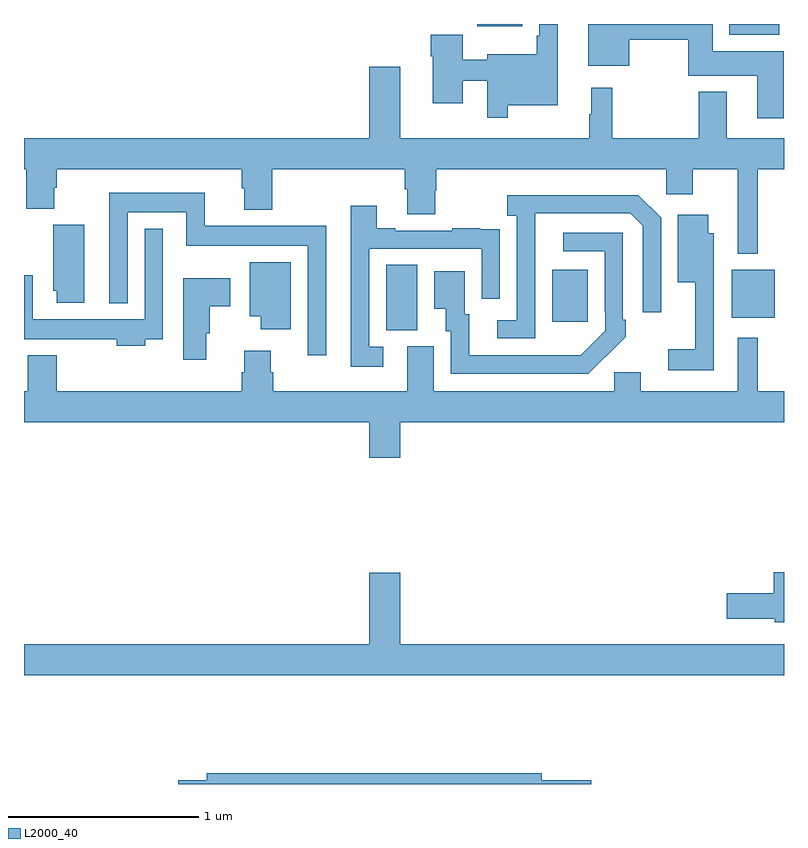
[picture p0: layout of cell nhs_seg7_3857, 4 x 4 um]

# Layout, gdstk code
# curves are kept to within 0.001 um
import gdstk
lib = gdstk.Library(unit=1e-6, precision=1e-09)
def R(c, l, rs):  # rectangles x0, y0, x1, y1
    for r in rs: c.add(gdstk.rectangle(r[:2], r[2:], *l))
def P(c, l, *ps):  # polygons
    for p in ps: c.add(gdstk.Polygon(p, *l))
L2000_40 = (2000, 40)

nhs_seg7_3857 = lib.new_cell('nhs_seg7_3857')
R(nhs_seg7_3857, L2000_40, [(356.906,1046.389,357.07,1046.732), (357.779,1046.433,357.967,1046.707), (358.724,1046.453,358.951,1046.707), (358.712,1047.944,358.975,1048), (357.386,1047.989,357.622,1048)])
P(nhs_seg7_3857, L2000_40, [(357.547,1047.572),(357.808,1047.572),(357.808,1048),(357.711,1048),(357.711,1047.937),(357.699,1047.937),(357.699,1047.841),(357.437,1047.841),(357.437,1047.811),(357.31,1047.811),(357.31,1047.943),(357.14,1047.943),(357.14,1047.83),(357.152,1047.83),(357.152,1047.582),(357.31,1047.582),(357.31,1047.702),(357.438,1047.702),(357.438,1047.507),(357.547,1047.507)],
  [(358.999,1047.856),(358.624,1047.856),(358.624,1048),(357.971,1048),(357.971,1047.779),(358.186,1047.779),(358.186,1047.916),(358.495,1047.916),(358.495,1047.728),(358.859,1047.728),(358.859,1047.504),(358.999,1047.504)],
  [(357.005,1047.13),(357.017,1047.13),(357.017,1046.998),(357.165,1046.998),(357.165,1047.123),(357.17,1047.123),(357.17,1047.236),(358.38,1047.236),(358.38,1047.105),(358.519,1047.105),(358.519,1047.236),(358.757,1047.236),(358.757,1046.792),(358.861,1046.792),(358.861,1047.236),(359,1047.236),(359,1047.4),(358.699,1047.4),(358.699,1047.643),(358.552,1047.643),(358.552,1047.4),(358.096,1047.4),(358.096,1047.664),(357.986,1047.664),(357.986,1047.524),(357.975,1047.524),(357.975,1047.4),(356.98,1047.4),(356.98,1047.775),(356.816,1047.775),(356.816,1047.4),(355,1047.4),(355,1047.236),(355.012,1047.236),(355.012,1047.028),(355.159,1047.028),(355.159,1047.137),(355.172,1047.137),(355.172,1047.236),(356.147,1047.236),(356.147,1047.135),(356.159,1047.135),(356.159,1047.023),(356.307,1047.023),(356.307,1047.236),(357.005,1047.236)],
  [(356.59,1046.938),(355.952,1046.938),(355.952,1047.112),(355.448,1047.112),(355.448,1046.531),(355.545,1046.531),(355.545,1047.008),(355.854,1047.008),(355.854,1046.834),(356.493,1046.834),(356.493,1046.256),(356.59,1046.256)],
  [(357.69,1046.803),(357.691,1047.003),(358.191,1047.003),(358.257,1046.937),(358.257,1046.484),(358.353,1046.484),(358.353,1046.979),(358.232,1047.1),(357.543,1047.1),(357.543,1046.99),(357.594,1046.99),(357.594,1046.442),(357.492,1046.442),(357.492,1046.346),(357.69,1046.346)],
  [(356.89,1046.301),(356.817,1046.301),(356.817,1046.817),(357.408,1046.817),(357.408,1046.555),(357.504,1046.555),(357.504,1046.81),(357.503,1046.81),(357.503,1046.919),(357.401,1046.919),(357.401,1046.926),(357.253,1046.926),(357.253,1046.913),(356.953,1046.913),(356.953,1046.926),(356.857,1046.926),(356.857,1047.043),(356.72,1047.043),(356.72,1046.196),(356.89,1046.196)],
  [(358.629,1046.899),(358.6,1046.899),(358.6,1046.995),(358.442,1046.995),(358.442,1046.642),(358.532,1046.642),(358.532,1046.287),(358.392,1046.287),(358.392,1046.178),(358.629,1046.178)],
  [(355.318,1046.943),(355.154,1046.943),(355.154,1046.595),(355.172,1046.595),(355.172,1046.532),(355.318,1046.532)],
  [(355.639,1046.34),(355.731,1046.34),(355.731,1046.923),(355.635,1046.923),(355.635,1046.446),(355.047,1046.446),(355.047,1046.677),(355,1046.677),(355,1046.342),(355.255,1046.342),(355.255,1046.34),(355.487,1046.34),(355.487,1046.306),(355.639,1046.306)],
  [(358.061,1046.251),(358.062,1046.25),(358.167,1046.355),(358.167,1046.443),(358.152,1046.443),(358.152,1046.901),(357.837,1046.901),(357.837,1046.805),(358.056,1046.805),(358.056,1046.485),(358.059,1046.485),(358.059,1046.385),(357.931,1046.257),(357.343,1046.256),(357.343,1046.472),(357.319,1046.472),(357.319,1046.698),(357.158,1046.698),(357.158,1046.501),(357.221,1046.501),(357.221,1046.382),(357.246,1046.382),(357.246,1046.16),(357.97,1046.16)],
  [(356.404,1046.746),(356.189,1046.746),(356.189,1046.462),(356.246,1046.462),(356.246,1046.394),(356.404,1046.394)],
  [(355.96,1046.373),(355.978,1046.373),(355.978,1046.515),(356.086,1046.515),(356.086,1046.662),(355.838,1046.662),(355.838,1046.232),(355.96,1046.232)],
  [(356.98,1045.904),(359,1045.904),(359,1046.068),(358.861,1046.068),(358.861,1046.35),(358.757,1046.35),(358.757,1046.068),(358.246,1046.068),(358.246,1046.166),(358.107,1046.166),(358.107,1046.068),(357.157,1046.068),(357.157,1046.304),(357.017,1046.304),(357.017,1046.068),(356.312,1046.068),(356.312,1046.166),(356.299,1046.166),(356.299,1046.281),(356.159,1046.281),(356.159,1046.166),(356.147,1046.166),(356.147,1046.068),(355.172,1046.068),(355.172,1046.257),(355.019,1046.257),(355.019,1046.068),(355,1046.068),(355,1045.904),(356.816,1045.904),(356.816,1045.716),(356.98,1045.716)],
  [(359,1045.114),(358.946,1045.114),(358.946,1045.004),(358.698,1045.004),(358.698,1044.869),(358.95,1044.869),(358.95,1044.851),(359,1044.851)],
  [(359,1044.736),(356.98,1044.736),(356.98,1045.111),(356.816,1045.111),(356.816,1044.736),(355,1044.736),(355,1044.572),(359,1044.572)],
  [(357.985,1044.02),(357.724,1044.02),(357.724,1044.056),(355.961,1044.056),(355.961,1044.02),(355.812,1044.02),(355.812,1044),(357.985,1044)])

lib.write_gds('nhs_seg7_3857.gds')
